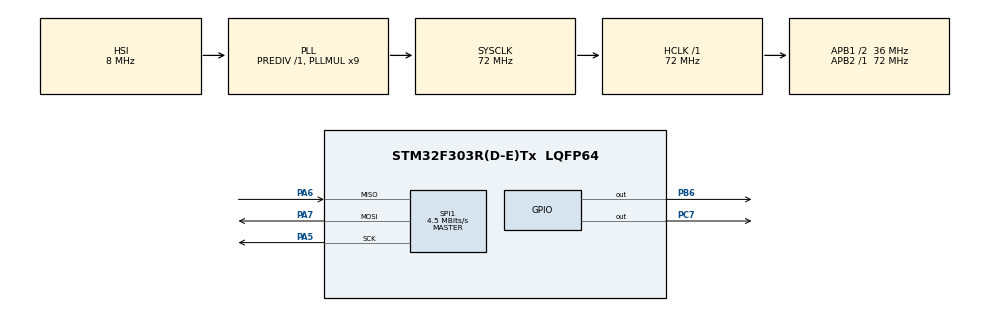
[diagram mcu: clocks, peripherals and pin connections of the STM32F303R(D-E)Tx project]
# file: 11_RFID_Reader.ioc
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Mcu.Family=STM32F3
Mcu.Name=STM32F303R(D-E)Tx
Mcu.Package=LQFP64
NVIC.PriorityGroup=NVIC_PRIORITYGROUP_0
PA13.GPIO_Label=TMS
PA13.Mode=Serial_Wire
PA13.Signal=SYS_JTMS-SWDIO
PA14.GPIO_Label=TCK
PA14.Mode=Serial_Wire
PA14.Signal=SYS_JTCK-SWCLK
PA5.Mode=Full_Duplex_Master
PA5.Signal=SPI1_SCK
PA6.Mode=Full_Duplex_Master
PA6.Signal=SPI1_MISO
PA7.Mode=Full_Duplex_Master
PA7.Signal=SPI1_MOSI
PB3.Signal=SYS_JTDO-TRACESWO
PB6.Signal=GPIO_Output
PC7.Signal=GPIO_Output
PF0-OSC_IN.Mode=HSE-External-Oscillator
PF0-OSC_IN.Signal=RCC_OSC_IN
PF1-OSC_OUT.Mode=HSE-External-Oscillator
PF1-OSC_OUT.Signal=RCC_OSC_OUT
ProjectManager.HeapSize=0x200
ProjectManager.StackSize=0x400
ProjectManager.TargetToolchain=STM32CubeIDE
RCC.AHBFreq_Value=72000000
RCC.APB1CLKDivider=RCC_HCLK_DIV2
RCC.APB1Freq_Value=36000000
RCC.APB1TimFreq_Value=72000000
RCC.APB2Freq_Value=72000000
RCC.APB2TimFreq_Value=72000000
RCC.CortexFreq_Value=72000000
RCC.HCLKFreq_Value=72000000
RCC.HSE_VALUE=8000000
RCC.HSI_VALUE=8000000
RCC.PLLM=8
RCC.PLLMUL=RCC_PLL_MUL9
RCC.PLLN=336
RCC.PLLP=RCC_PLLP_DIV4
RCC.PLLQ=7
RCC.RCC_PLLsource_Clock_Source_FROM_HSE=RCC_HSE_PREDIV_DIV2
RCC.SYSCLKFreq_VALUE=72000000
RCC.SYSCLKSourceVirtual=RCC_SYSCLKSOURCE_PLLCLK
RCC.USBFreq_Value=72000000
SPI1.BaudRatePrescaler=SPI_BAUDRATEPRESCALER_16
SPI1.CalculateBaudRate=4.5 MBits/s
SPI1.DataSize=SPI_DATASIZE_8BIT
SPI1.Direction=SPI_DIRECTION_2LINES
SPI1.Mode=SPI_MODE_MASTER
SPI1.VirtualType=VM_MASTER
board=NUCLEO-F303RE

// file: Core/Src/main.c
/* USER CODE BEGIN Header */
/**
  ******************************************************************************
  * @file           : main.c
  * @brief          : Main program body
  ******************************************************************************
  * @attention
  *
  * Copyright (c) 2026 STMicroelectronics.
  * All rights reserved.
  *
  * This software is licensed under terms that can be found in the LICENSE file
  * in the root directory of this software component.
  * If no LICENSE file comes with this software, it is provided AS-IS.
  *
  ******************************************************************************
  */
/* USER CODE END Header */
#include "main.h"

/* USER CODE BEGIN Includes */
#include "RC522.h"
#include "string.h"
/* USER CODE END Includes */

SPI_HandleTypeDef hspi1;

/* USER CODE BEGIN PV */
uint8_t status;
uint8_t str[16];
uint8_t sNum[5];
/* USER CODE END PV */

void SystemClock_Config(void);
static void MX_GPIO_Init(void);
static void MX_SPI1_Init(void);

int main(void)
{

  /* MCU Configuration--------------------------------------------------------*/

  /* Reset of all peripherals, Initializes the Flash interface and the Systick. */
  HAL_Init();

  /* Configure the system clock */
  SystemClock_Config();

  /* Initialize all configured peripherals */
  MX_GPIO_Init();
  MX_SPI1_Init();
  /* USER CODE BEGIN 2 */
  MFRC522_Init();
  /* USER CODE END 2 */

  /* Infinite loop */
  while (1)
  {

    /* USER CODE BEGIN 3 */
	  status = MFRC522_Request(PICC_REQIDL, str);
		status = MFRC522_Anticoll(str);
		memcpy(sNum, str, 5);
		HAL_Delay(200);
    if((str[2]==75) && (str[3]==22) && (str[4]==115) )
	     {
	       HAL_GPIO_WritePin(GPIOC,GPIO_PIN_13,0);
	       HAL_Delay(100);
	       }
	     else if((str[2]==209) && (str[3]==215) && (str[4]==167) )
	       {
	       HAL_GPIO_WritePin(GPIOC,GPIO_PIN_13,0);
	       HAL_Delay(2000);
	     }
	     else
	     {
	       HAL_GPIO_WritePin(GPIOC,GPIO_PIN_13,1);
	     }
  }
  /* USER CODE END 3 */
}

void SystemClock_Config(void)
{
  RCC_OscInitTypeDef RCC_OscInitStruct = {0};
  RCC_ClkInitTypeDef RCC_ClkInitStruct = {0};

  /** Initializes the RCC Oscillators according to the specified parameters
  * in the RCC_OscInitTypeDef structure.
  */
  RCC_OscInitStruct.OscillatorType = RCC_OSCILLATORTYPE_HSI;
  RCC_OscInitStruct.HSIState = RCC_HSI_ON;
  RCC_OscInitStruct.HSICalibrationValue = RCC_HSICALIBRATION_DEFAULT;
  RCC_OscInitStruct.PLL.PLLState = RCC_PLL_ON;
  RCC_OscInitStruct.PLL.PLLSource = RCC_PLLSOURCE_HSI;
  RCC_OscInitStruct.PLL.PLLMUL = RCC_PLL_MUL9;
  RCC_OscInitStruct.PLL.PREDIV = RCC_PREDIV_DIV1;
  if (HAL_RCC_OscConfig(&RCC_OscInitStruct) != HAL_OK)
  {
    Error_Handler();
  }

  /** Initializes the CPU, AHB and APB buses clocks
  */
  RCC_ClkInitStruct.ClockType = RCC_CLOCKTYPE_HCLK|RCC_CLOCKTYPE_SYSCLK
                              |RCC_CLOCKTYPE_PCLK1|RCC_CLOCKTYPE_PCLK2;
  RCC_ClkInitStruct.SYSCLKSource = RCC_SYSCLKSOURCE_PLLCLK;
  RCC_ClkInitStruct.AHBCLKDivider = RCC_SYSCLK_DIV1;
  RCC_ClkInitStruct.APB1CLKDivider = RCC_HCLK_DIV2;
  RCC_ClkInitStruct.APB2CLKDivider = RCC_HCLK_DIV1;

  if (HAL_RCC_ClockConfig(&RCC_ClkInitStruct, FLASH_LATENCY_2) != HAL_OK)
  {
    Error_Handler();
  }
}

static void MX_SPI1_Init(void)
{

  /* SPI1 parameter configuration*/
  hspi1.Instance = SPI1;
  hspi1.Init.Mode = SPI_MODE_MASTER;
  hspi1.Init.Direction = SPI_DIRECTION_2LINES;
  hspi1.Init.DataSize = SPI_DATASIZE_8BIT;
  hspi1.Init.CLKPolarity = SPI_POLARITY_LOW;
  hspi1.Init.CLKPhase = SPI_PHASE_1EDGE;
  hspi1.Init.NSS = SPI_NSS_SOFT;
  hspi1.Init.BaudRatePrescaler = SPI_BAUDRATEPRESCALER_16;
  hspi1.Init.FirstBit = SPI_FIRSTBIT_MSB;
  hspi1.Init.TIMode = SPI_TIMODE_DISABLE;
  hspi1.Init.CRCCalculation = SPI_CRCCALCULATION_DISABLE;
  hspi1.Init.CRCPolynomial = 7;
  hspi1.Init.CRCLength = SPI_CRC_LENGTH_DATASIZE;
  hspi1.Init.NSSPMode = SPI_NSS_PULSE_ENABLE;
  if (HAL_SPI_Init(&hspi1) != HAL_OK)
  {
    Error_Handler();
  }

}

static void MX_GPIO_Init(void)
{
  GPIO_InitTypeDef GPIO_InitStruct = {0};

  /* GPIO Ports Clock Enable */
  __HAL_RCC_GPIOF_CLK_ENABLE();
  __HAL_RCC_GPIOA_CLK_ENABLE();
  __HAL_RCC_GPIOC_CLK_ENABLE();
  __HAL_RCC_GPIOB_CLK_ENABLE();

  /*Configure GPIO pin Output Level */
  HAL_GPIO_WritePin(GPIOC, GPIO_PIN_7, GPIO_PIN_RESET);

  /*Configure GPIO pin Output Level */
  HAL_GPIO_WritePin(GPIOB, GPIO_PIN_6, GPIO_PIN_RESET);

  /*Configure GPIO pin : PC7 */
  GPIO_InitStruct.Pin = GPIO_PIN_7;
  GPIO_InitStruct.Mode = GPIO_MODE_OUTPUT_PP;
  GPIO_InitStruct.Pull = GPIO_NOPULL;
  GPIO_InitStruct.Speed = GPIO_SPEED_FREQ_LOW;
  HAL_GPIO_Init(GPIOC, &GPIO_InitStruct);

  /*Configure GPIO pin : PB6 */
  GPIO_InitStruct.Pin = GPIO_PIN_6;
  GPIO_InitStruct.Mode = GPIO_MODE_OUTPUT_PP;
  GPIO_InitStruct.Pull = GPIO_NOPULL;
  GPIO_InitStruct.Speed = GPIO_SPEED_FREQ_LOW;
  HAL_GPIO_Init(GPIOB, &GPIO_InitStruct);

}

void Error_Handler(void)
{
  __disable_irq();
  while (1)
  {
  }
}
